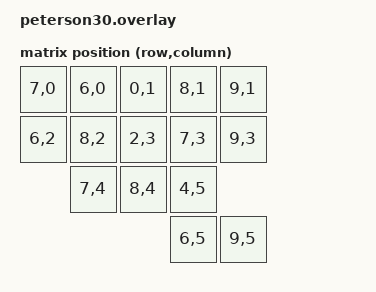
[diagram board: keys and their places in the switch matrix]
/*
 * Copyright (c) 2022 The ZMK Contributors
 *
 * SPDX-License-Identifier: MIT
 */

#include <dt-bindings/zmk/matrix_transform.h>
#include "peterson30-layouts.dtsi"

&physical_layout0 {
    transform = <&matrix_transform0>;
};

/ {
    chosen {
        zmk,kscan = &kscan0;
        zmk,physical-layout = &physical_layout0;
    };

    matrix_transform0: keymap_transform_0 {
        compatible = "zmk,matrix-transform";
        columns = <10>;
        rows = <10>;
        map = <
    RC(7,0) RC(6,0) RC(0,1) RC(8,1) RC(9,1)
    RC(6,2) RC(8,2) RC(2,3) RC(7,3) RC(9,3)
            RC(7,4) RC(8,4) RC(4,5)
                          RC(6,5) RC(9,5)
        >;
    };

    kscan0: kscan_0 {
        compatible = "zmk,kscan-gpio-charlieplex";
        wakeup-source;

        gpios
            = <&xiao_d 0 GPIO_OPEN_SOURCE> //GPIO_OPEN_SOURCE
            , <&xiao_d 1 GPIO_OPEN_SOURCE>
            , <&xiao_d 2 GPIO_OPEN_SOURCE>
            , <&xiao_d 3 GPIO_OPEN_SOURCE>
            , <&xiao_d 4 GPIO_OPEN_SOURCE>
            , <&xiao_d 5 GPIO_OPEN_SOURCE>
            , <&xiao_d 6 GPIO_OPEN_SOURCE>
            , <&xiao_d 7 GPIO_OPEN_SOURCE>
            , <&xiao_d 8 GPIO_OPEN_SOURCE>
            , <&xiao_d 9 GPIO_OPEN_SOURCE>
            ;
    };
};
